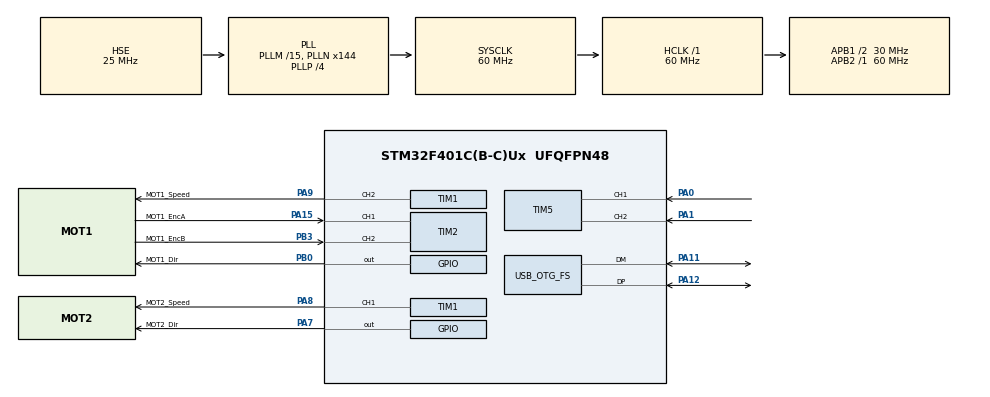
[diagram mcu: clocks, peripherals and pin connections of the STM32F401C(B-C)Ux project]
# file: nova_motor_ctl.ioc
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Mcu.Family=STM32F4
Mcu.Name=STM32F401C(B-C)Ux
Mcu.Package=UFQFPN48
NVIC.OTG_FS_IRQn=true\:0\:0\:false\:false\:true\:false\:true\:true
NVIC.PriorityGroup=NVIC_PRIORITYGROUP_4
NVIC.TIM1_UP_TIM10_IRQn=true\:0\:0\:false\:false\:true\:true\:true\:true
PA0-WKUP.Signal=S_TIM5_CH1
PA1.Signal=S_TIM5_CH2
PA11.Mode=Device_Only
PA11.Signal=USB_OTG_FS_DM
PA12.Mode=Device_Only
PA12.Signal=USB_OTG_FS_DP
PA15.GPIO_Label=MOT1_EncA
PA15.Signal=S_TIM2_CH1_ETR
PA7.GPIO_Label=MOT2_Dir
PA7.GPIO_Speed=GPIO_SPEED_FREQ_MEDIUM
PA7.Signal=GPIO_Output
PA8.GPIO_Label=MOT2_Speed
PA8.Signal=S_TIM1_CH1
PA9.GPIO_Label=MOT1_Speed
PA9.Signal=S_TIM1_CH2
PB0.GPIO_Label=MOT1_Dir
PB0.GPIO_Speed=GPIO_SPEED_FREQ_MEDIUM
PB0.Signal=GPIO_Output
PB3.GPIO_Label=MOT1_EncB
PB3.Signal=S_TIM2_CH2
PH0\ -\ OSC_IN.Mode=HSE-External-Oscillator
PH0\ -\ OSC_IN.Signal=RCC_OSC_IN
PH1\ -\ OSC_OUT.Mode=HSE-External-Oscillator
PH1\ -\ OSC_OUT.Signal=RCC_OSC_OUT
ProjectManager.HeapSize=0x200
ProjectManager.StackSize=0x400
ProjectManager.TargetToolchain=STM32CubeIDE
RCC.48MHZClocksFreq_Value=48000000
RCC.AHBFreq_Value=60000000
RCC.APB1CLKDivider=RCC_HCLK_DIV2
RCC.APB1Freq_Value=30000000
RCC.APB1TimFreq_Value=60000000
RCC.APB2Freq_Value=60000000
RCC.APB2TimFreq_Value=60000000
RCC.CortexFreq_Value=60000000
RCC.HCLKFreq_Value=60000000
RCC.HSE_VALUE=25000000
RCC.HSI_VALUE=16000000
RCC.LSE_VALUE=32768
RCC.PLLM=15
RCC.PLLN=144
RCC.PLLP=RCC_PLLP_DIV4
RCC.PLLQ=5
RCC.SYSCLKFreq_VALUE=60000000
RCC.SYSCLKSource=RCC_SYSCLKSOURCE_PLLCLK
RCC.VCOOutputFreq_Value=240000000
SH.S_TIM1_CH1.0=TIM1_CH1,PWM Generation1 CH1
SH.S_TIM1_CH2.0=TIM1_CH2,PWM Generation2 CH2
SH.S_TIM2_CH1_ETR.0=TIM2_CH1,Encoder_Interface
SH.S_TIM2_CH2.0=TIM2_CH2,Encoder_Interface
SH.S_TIM5_CH1.0=TIM5_CH1,Encoder_Interface
SH.S_TIM5_CH2.0=TIM5_CH2,Encoder_Interface
TIM1.Channel-PWM\ Generation1\ CH1=TIM_CHANNEL_1
TIM1.Channel-PWM\ Generation2\ CH2=TIM_CHANNEL_2
TIM10.Channel=TIM_CHANNEL_1
USB_DEVICE.CLASS_NAME_FS=CDC
USB_DEVICE.VirtualMode=Cdc
USB_DEVICE.VirtualModeFS=Cdc_FS
USB_OTG_FS.VirtualMode=Device_Only
VP_TIM10_VS_ClockSourceINT.Mode=Enable_Timer
VP_TIM10_VS_no_output1.Mode=Output Compare1 No Output
VP_USB_DEVICE_VS_USB_DEVICE_CDC_FS.Mode=CDC_FS
board=custom

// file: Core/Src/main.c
/* USER CODE BEGIN Header */
/**
  ******************************************************************************
  * @file           : main.c
  * @brief          : Main program body
  ******************************************************************************
  * @attention
  *
  * Copyright (c) 2024 STMicroelectronics.
  * All rights reserved.
  *
  * This software is licensed under terms that can be found in the LICENSE file
  * in the root directory of this software component.
  * If no LICENSE file comes with this software, it is provided AS-IS.
  *
  ******************************************************************************
  */
/* USER CODE END Header */
#include "main.h"
#include "usb_device.h"

/* USER CODE BEGIN Includes */

#include "usbd_cdc_if.h"

#include "Com/cmd.h"
#include "Com/munching.h"
#include "Com/packet.h"

/* USER CODE END Includes */

/* USER CODE BEGIN PM */

#ifndef MAX
#define MAX(a, b) ((a) > (b) ? (a) : (b))
#endif

/* USER CODE END PM */

TIM_HandleTypeDef htim1;
TIM_HandleTypeDef htim2;
TIM_HandleTypeDef htim5;
TIM_HandleTypeDef htim10;

/* USER CODE BEGIN PV */

extern USBD_HandleTypeDef hUsbDeviceFS;

uint8_t ESTOP = 0;
uint8_t TX_CPLT_FLAG = 1;
uint8_t UNKNOWN_CMD = 0;

/**
 * MICROCONTROLLER BOARD Mappings
 * ------------------------------
 * PWM2 -> MOTOR_1 -> Left Motor
 * PWM1 -> MOTOR_2 -> Right Motor
 */

// MOTOR_1 Direction -> A2
// MOTOR_2 Direction -> B5

#define MOT1_ENC htim2             // A5, B3
#define MOT1_PWM TIM_CHANNEL_2     // A6
#define MOT2_ENC htim5             // A0, A1
#define MOT2_PWM TIM_CHANNEL_1     // B6
#define LOOP_TIM htim10
#define PWM_TIM  htim1

size_t CDC_RX_PTR = 0; // CDC receive ring buffer
uint8_t CDC_RX_BUF[CDC_RX_SIZE] = { 0 };
uint8_t CDC_TX_BUF[CDC_TX_SIZE] = { 0 };

// rpm counters

uint32_t COUNTS_PER_REV = 23283; // 9031
float RPS_MAX = 1;

// filter constants

uint8_t use_bw = 1;
uint8_t use_ra = 1;

float BW_A[BW_N] = {
	2.83533457,
	-2.6839485,
	0.84809864
};
float BW_B[BW_N + 1] = {
	6.44099940e-05,
	1.93229982e-04,
	1.93229982e-04,
	6.44099940e-05
};

float RA_COEFF[BW_N] = {
	0.005,
	0.005,
	0.99,
};

// PI constants

float pi_kp = 2.95;
float pi_ki = 0.08;

// motor defines

PIController MOTOR_1 = {
	.unicorn = 0,
	.eps_set_point = 0,
	.last_encoder = 0,
	.enc_tim = &MOT1_ENC,
	.pwm_channel = MOT1_PWM,
	.dir_pin = MOT1_Dir_Pin,
	.dir_port = MOT1_Dir_GPIO_Port,
	.filter = {{ 0 }},
};
PIController MOTOR_2 = {
	.unicorn = 0,
	.eps_set_point = 0,
	.last_encoder = 0,
	.enc_tim = &MOT2_ENC,
	.pwm_channel = MOT2_PWM,
	.dir_pin = MOT2_Dir_Pin,
	.dir_port = MOT2_Dir_GPIO_Port,
	.filter = {{ 0 }},
};

/* USER CODE END PV */

void SystemClock_Config(void);
static void MX_GPIO_Init(void);
static void MX_TIM2_Init(void);
static void MX_TIM10_Init(void);
static void MX_TIM5_Init(void);
static void MX_TIM1_Init(void);

/* USER CODE BEGIN 0 */

int32_t encoder_change(uint32_t encoder, PIController* motor) {
    if (__HAL_TIM_IS_TIM_COUNTING_DOWN(motor->enc_tim)) {
    	if (encoder <= motor->last_encoder)
    		return (motor->last_encoder - encoder);
    	else
    		return (motor->last_encoder + __HAL_TIM_GET_AUTORELOAD(motor->enc_tim) - encoder);
    } else {
    	if (encoder >= motor->last_encoder)
    		return (motor->last_encoder - encoder);
    	else
    		return (encoder + __HAL_TIM_GET_AUTORELOAD(motor->enc_tim) - motor->last_encoder);
    }
}

// rpm filter

/// Hard-coded 3rd-order Butterworth filter, defined for our timer sampling frequency
/// and estimated noise frequencies.
void bw_filter_rpm(FilterParams* filter) {
	if (use_bw) {
		float y_n = (BW_A[0] * filter->eps_y[2]) +
				(BW_A[1] * filter->eps_y[1]) +
				(BW_A[2] * filter->eps_y[0]) +
				(BW_B[0] * filter->eps_x[3]) +
				(BW_B[1] * filter->eps_x[2]) +
				(BW_B[2] * filter->eps_x[1]) +
				(BW_B[3] * filter->eps_x[0]);

		filter->eps_y[0] = filter->eps_y[1]; filter->eps_x[0] = filter->eps_x[1];
		filter->eps_y[1] = filter->eps_y[2]; filter->eps_x[1] = filter->eps_x[2];
		filter->eps_y[2] = y_n     	       ; filter->eps_x[2] = filter->eps_x[3];
	} else {
		filter->eps_y[0] = filter->eps_x[3];
		filter->eps_y[1] = filter->eps_x[3];
		filter->eps_y[2] = filter->eps_x[3];
	}
}

/// Running-average filter over the butterworth filter output.
void ra_filter_rpm(FilterParams* filter) {
	if (use_ra) {
		filter->eps_y[2] = (filter->eps_y[0] * RA_COEFF[0]) +
				(filter->eps_y[1] * RA_COEFF[1]) +
				(filter->eps_y[2] * RA_COEFF[2]);
	}
}

// PI controller

/// clamp duty cycle to bounds
float clamp(float val, float min, float max) {
	if      (val > max) return max;
	else if (val < min) return min;
	else                return val;
}

volatile uint32_t* pwm_channel_reg(TIM_TypeDef* timer, uint32_t ch) {
	switch(ch) {
	case TIM_CHANNEL_1: return &(timer->CCR1);
	case TIM_CHANNEL_2: return &(timer->CCR2);
	case TIM_CHANNEL_3: return &(timer->CCR3);
	case TIM_CHANNEL_4: return &(timer->CCR4);
	}

	return NULL;
}

void control_motor_pi(PIController* motor) {
	float error_t = motor->eps_set_point - motor->filter.eps_y[2];
	motor->unicorn = clamp(motor->unicorn + error_t, -1024000., 1024000.);

	float drive = (pi_kp * error_t) + (pi_ki * motor->unicorn);
	float duty_cycle = clamp(drive / COUNTS_PER_REV, -1., 1.);

	if (duty_cycle < 0.) {
		duty_cycle = -duty_cycle;
		HAL_GPIO_WritePin(motor->dir_port, motor->dir_pin, 1);
	} else {
		HAL_GPIO_WritePin(motor->dir_port, motor->dir_pin, 0);
	}

	*pwm_channel_reg(PWM_TIM.Instance, motor->pwm_channel) = duty_cycle *
			__HAL_TIM_GET_AUTORELOAD(&PWM_TIM);
}

void stop_motor_pi(PIController* motor) {
	motor->eps_set_point = 0;
	*pwm_channel_reg(PWM_TIM.Instance, motor->pwm_channel) = 0;
}

// timer loop

float get_tim10_period() {
	return (float)(__HAL_TIM_GET_AUTORELOAD(&LOOP_TIM)) / HAL_RCC_GetPCLK1Freq();
}

void process_callback(PIController* motor, float dt) {
	uint32_t encoder = __HAL_TIM_GET_COUNTER(motor->enc_tim);
	int32_t delta_encoder = encoder_change(encoder, motor);

	motor->filter.eps_x[BW_N] = (delta_encoder / dt);

	bw_filter_rpm(&motor->filter);
	ra_filter_rpm(&motor->filter);

	motor->last_encoder = encoder;
}

void HAL_TIM_PeriodElapsedCallback(TIM_HandleTypeDef* htim) {
	if (htim->Instance == LOOP_TIM.Instance) {
		float period = get_tim10_period();

		process_callback(&MOTOR_1, period);
		process_callback(&MOTOR_2, period);
	}
}

// Command Processing

uint8_t CMD_BUF[16] = { 0 };

void echo(size_t ptr) {
	uint8_t echo_buf[32] = { 0 };
	EchoCommand echo = deserialize_echo(CMD_BUF + ptr, echo_buf);

	uint8_t command_buf[32] = { 0 };
	command_buf[0] = 1;
	uint8_t len = serialize_echo(&echo, command_buf + 1);

	while (!TX_CPLT_FLAG);
	memset(CDC_TX_BUF, 0, CDC_TX_SIZE);
	uint16_t packet_len = serialize_packet(command_buf, len + ptr, CDC_TX_BUF);
	CDC_Transmit_FS(CDC_TX_BUF, packet_len);
}

void process_command() {
	float rps_set;
	float float_recv;

	UNKNOWN_CMD = 0;

	size_t ptr = 0;

	uint8_t command = deserialize_byte(CMD_BUF); ptr += 1;

	switch (command) {
	case 1:
		echo(ptr);
		break;

	case 2:
		float_recv = deserialize_float(CMD_BUF + ptr);
		pi_kp = float_recv;
		break;

	case 3:
		float_recv = deserialize_float(CMD_BUF + ptr);
		pi_ki = float_recv;
		break;

	case 4: // RpmL
		float_recv = deserialize_float(CMD_BUF + ptr) / 60.;
		rps_set = clamp(float_recv, -RPS_MAX, RPS_MAX);
		MOTOR_1.eps_set_point = rps_set * COUNTS_PER_REV;
		break;

	case 5: // RpmR
		float_recv = deserialize_float(CMD_BUF + ptr) / 60.;
		rps_set = clamp(float_recv, 0 - RPS_MAX, RPS_MAX);
		MOTOR_2.eps_set_point = rps_set * COUNTS_PER_REV;
		break;

	default:
		UNKNOWN_CMD = 1;
	}

	memset(CMD_BUF, 0, 16);
}

void process_packets() {
	for (int i = 0; i < CDC_RX_SIZE - 1; i++) {
		uint16_t len = deserialize_u16(CDC_RX_BUF + i);

		uint16_t frame_ptr = i + len + 2;

		if (frame_ptr < CDC_RX_SIZE - 1) {
			uint16_t framing = deserialize_u16(CDC_RX_BUF + frame_ptr);

			if (framing == 0x0A0D) { // \r\n
				deserialize_packet(CDC_RX_BUF + i, CMD_BUF);
				process_command();
				i += len + 4;
			}
		}
	}

	CDC_RX_PTR = 0;
	memset(CDC_RX_BUF, 0, CDC_RX_SIZE);
}

// Other

void usb_configure_wait() {
	while (hUsbDeviceFS.dev_state != USBD_STATE_CONFIGURED);
}

uint8_t check_usb_status() {
	return (hUsbDeviceFS.dev_state == USBD_STATE_SUSPENDED);
}

void stream_eps_values() {
	memset(CDC_TX_BUF, 0, CDC_TX_SIZE);
	int w = snprintf((char*)CDC_TX_BUF, 16, "%d,%d\n",
			(int)MOTOR_1.filter.eps_y[2],
			(int)MOTOR_2.filter.eps_y[2]);
	CDC_Transmit_FS(CDC_TX_BUF, w);
}

/* USER CODE END 0 */

int main(void)
{

  /* MCU Configuration--------------------------------------------------------*/

  /* Reset of all peripherals, Initializes the Flash interface and the Systick. */
  HAL_Init();

  /* Configure the system clock */
  SystemClock_Config();

  /* Initialize all configured peripherals */
  MX_GPIO_Init();
  MX_TIM2_Init();
  MX_TIM10_Init();
  MX_USB_DEVICE_Init();
  MX_TIM5_Init();
  MX_TIM1_Init();
  /* USER CODE BEGIN 2 */

  HAL_TIM_Base_Start_IT(&LOOP_TIM);
  HAL_TIM_Encoder_Start(&MOT1_ENC, TIM_CHANNEL_ALL);
  HAL_TIM_Encoder_Start(&MOT2_ENC, TIM_CHANNEL_ALL);
  HAL_TIM_PWM_Start(&PWM_TIM, TIM_CHANNEL_2);
  HAL_TIM_PWM_Start(&PWM_TIM, TIM_CHANNEL_1);

  usb_configure_wait();

  /* USER CODE END 2 */

  /* Infinite loop */
  while (1)
  {

    /* USER CODE BEGIN 3 */

	ESTOP = check_usb_status() || ESTOP;

	process_packets();
	stream_eps_values();

	if (ESTOP) {
		stop_motor_pi(&MOTOR_1);
		stop_motor_pi(&MOTOR_2);
	} else {
		control_motor_pi(&MOTOR_1);
		control_motor_pi(&MOTOR_2);
	}

	HAL_Delay(10);
  }
  /* USER CODE END 3 */
}

void SystemClock_Config(void)
{
  RCC_OscInitTypeDef RCC_OscInitStruct = {0};
  RCC_ClkInitTypeDef RCC_ClkInitStruct = {0};

  /** Configure the main internal regulator output voltage
  */
  __HAL_RCC_PWR_CLK_ENABLE();
  __HAL_PWR_VOLTAGESCALING_CONFIG(PWR_REGULATOR_VOLTAGE_SCALE2);

  /** Initializes the RCC Oscillators according to the specified parameters
  * in the RCC_OscInitTypeDef structure.
  */
  RCC_OscInitStruct.OscillatorType = RCC_OSCILLATORTYPE_HSE;
  RCC_OscInitStruct.HSEState = RCC_HSE_ON;
  RCC_OscInitStruct.PLL.PLLState = RCC_PLL_ON;
  RCC_OscInitStruct.PLL.PLLSource = RCC_PLLSOURCE_HSE;
  RCC_OscInitStruct.PLL.PLLM = 15;
  RCC_OscInitStruct.PLL.PLLN = 144;
  RCC_OscInitStruct.PLL.PLLP = RCC_PLLP_DIV4;
  RCC_OscInitStruct.PLL.PLLQ = 5;
  if (HAL_RCC_OscConfig(&RCC_OscInitStruct) != HAL_OK)
  {
    Error_Handler();
  }

  /** Initializes the CPU, AHB and APB buses clocks
  */
  RCC_ClkInitStruct.ClockType = RCC_CLOCKTYPE_HCLK|RCC_CLOCKTYPE_SYSCLK
                              |RCC_CLOCKTYPE_PCLK1|RCC_CLOCKTYPE_PCLK2;
  RCC_ClkInitStruct.SYSCLKSource = RCC_SYSCLKSOURCE_PLLCLK;
  RCC_ClkInitStruct.AHBCLKDivider = RCC_SYSCLK_DIV1;
  RCC_ClkInitStruct.APB1CLKDivider = RCC_HCLK_DIV2;
  RCC_ClkInitStruct.APB2CLKDivider = RCC_HCLK_DIV1;

  if (HAL_RCC_ClockConfig(&RCC_ClkInitStruct, FLASH_LATENCY_1) != HAL_OK)
  {
    Error_Handler();
  }
}

static void MX_TIM1_Init(void)
{

  TIM_MasterConfigTypeDef sMasterConfig = {0};
  TIM_OC_InitTypeDef sConfigOC = {0};
  TIM_BreakDeadTimeConfigTypeDef sBreakDeadTimeConfig = {0};

  htim1.Instance = TIM1;
  htim1.Init.Prescaler = 0;
  htim1.Init.CounterMode = TIM_COUNTERMODE_UP;
  htim1.Init.Period = 65535;
  htim1.Init.ClockDivision = TIM_CLOCKDIVISION_DIV1;
  htim1.Init.RepetitionCounter = 0;
  htim1.Init.AutoReloadPreload = TIM_AUTORELOAD_PRELOAD_DISABLE;
  if (HAL_TIM_PWM_Init(&htim1) != HAL_OK)
  {
    Error_Handler();
  }
  sMasterConfig.MasterOutputTrigger = TIM_TRGO_RESET;
  sMasterConfig.MasterSlaveMode = TIM_MASTERSLAVEMODE_DISABLE;
  if (HAL_TIMEx_MasterConfigSynchronization(&htim1, &sMasterConfig) != HAL_OK)
  {
    Error_Handler();
  }
  sConfigOC.OCMode = TIM_OCMODE_PWM1;
  sConfigOC.Pulse = 0;
  sConfigOC.OCPolarity = TIM_OCPOLARITY_HIGH;
  sConfigOC.OCNPolarity = TIM_OCNPOLARITY_HIGH;
  sConfigOC.OCFastMode = TIM_OCFAST_DISABLE;
  sConfigOC.OCIdleState = TIM_OCIDLESTATE_RESET;
  sConfigOC.OCNIdleState = TIM_OCNIDLESTATE_RESET;
  if (HAL_TIM_PWM_ConfigChannel(&htim1, &sConfigOC, TIM_CHANNEL_1) != HAL_OK)
  {
    Error_Handler();
  }
  if (HAL_TIM_PWM_ConfigChannel(&htim1, &sConfigOC, TIM_CHANNEL_2) != HAL_OK)
  {
    Error_Handler();
  }
  sBreakDeadTimeConfig.OffStateRunMode = TIM_OSSR_DISABLE;
  sBreakDeadTimeConfig.OffStateIDLEMode = TIM_OSSI_DISABLE;
  sBreakDeadTimeConfig.LockLevel = TIM_LOCKLEVEL_OFF;
  sBreakDeadTimeConfig.DeadTime = 0;
  sBreakDeadTimeConfig.BreakState = TIM_BREAK_DISABLE;
  sBreakDeadTimeConfig.BreakPolarity = TIM_BREAKPOLARITY_HIGH;
  sBreakDeadTimeConfig.AutomaticOutput = TIM_AUTOMATICOUTPUT_DISABLE;
  if (HAL_TIMEx_ConfigBreakDeadTime(&htim1, &sBreakDeadTimeConfig) != HAL_OK)
  {
    Error_Handler();
  }
  HAL_TIM_MspPostInit(&htim1);

}

static void MX_TIM2_Init(void)
{

  TIM_Encoder_InitTypeDef sConfig = {0};
  TIM_MasterConfigTypeDef sMasterConfig = {0};

  htim2.Instance = TIM2;
  htim2.Init.Prescaler = 0;
  htim2.Init.CounterMode = TIM_COUNTERMODE_UP;
  htim2.Init.Period = 4294967295;
  htim2.Init.ClockDivision = TIM_CLOCKDIVISION_DIV1;
  htim2.Init.AutoReloadPreload = TIM_AUTORELOAD_PRELOAD_DISABLE;
  sConfig.EncoderMode = TIM_ENCODERMODE_TI1;
  sConfig.IC1Polarity = TIM_ICPOLARITY_RISING;
  sConfig.IC1Selection = TIM_ICSELECTION_DIRECTTI;
  sConfig.IC1Prescaler = TIM_ICPSC_DIV1;
  sConfig.IC1Filter = 0;
  sConfig.IC2Polarity = TIM_ICPOLARITY_RISING;
  sConfig.IC2Selection = TIM_ICSELECTION_DIRECTTI;
  sConfig.IC2Prescaler = TIM_ICPSC_DIV1;
  sConfig.IC2Filter = 0;
  if (HAL_TIM_Encoder_Init(&htim2, &sConfig) != HAL_OK)
  {
    Error_Handler();
  }
  sMasterConfig.MasterOutputTrigger = TIM_TRGO_RESET;
  sMasterConfig.MasterSlaveMode = TIM_MASTERSLAVEMODE_DISABLE;
  if (HAL_TIMEx_MasterConfigSynchronization(&htim2, &sMasterConfig) != HAL_OK)
  {
    Error_Handler();
  }

}

static void MX_TIM5_Init(void)
{

  TIM_Encoder_InitTypeDef sConfig = {0};
  TIM_MasterConfigTypeDef sMasterConfig = {0};

  htim5.Instance = TIM5;
  htim5.Init.Prescaler = 0;
  htim5.Init.CounterMode = TIM_COUNTERMODE_UP;
  htim5.Init.Period = 4294967295;
  htim5.Init.ClockDivision = TIM_CLOCKDIVISION_DIV1;
  htim5.Init.AutoReloadPreload = TIM_AUTORELOAD_PRELOAD_DISABLE;
  sConfig.EncoderMode = TIM_ENCODERMODE_TI1;
  sConfig.IC1Polarity = TIM_ICPOLARITY_RISING;
  sConfig.IC1Selection = TIM_ICSELECTION_DIRECTTI;
  sConfig.IC1Prescaler = TIM_ICPSC_DIV1;
  sConfig.IC1Filter = 0;
  sConfig.IC2Polarity = TIM_ICPOLARITY_RISING;
  sConfig.IC2Selection = TIM_ICSELECTION_DIRECTTI;
  sConfig.IC2Prescaler = TIM_ICPSC_DIV1;
  sConfig.IC2Filter = 0;
  if (HAL_TIM_Encoder_Init(&htim5, &sConfig) != HAL_OK)
  {
    Error_Handler();
  }
  sMasterConfig.MasterOutputTrigger = TIM_TRGO_RESET;
  sMasterConfig.MasterSlaveMode = TIM_MASTERSLAVEMODE_DISABLE;
  if (HAL_TIMEx_MasterConfigSynchronization(&htim5, &sMasterConfig) != HAL_OK)
  {
    Error_Handler();
  }

}

static void MX_TIM10_Init(void)
{

  TIM_OC_InitTypeDef sConfigOC = {0};

  htim10.Instance = TIM10;
  htim10.Init.Prescaler = 0;
  htim10.Init.CounterMode = TIM_COUNTERMODE_UP;
  htim10.Init.Period = 65535;
  htim10.Init.ClockDivision = TIM_CLOCKDIVISION_DIV1;
  htim10.Init.AutoReloadPreload = TIM_AUTORELOAD_PRELOAD_DISABLE;
  if (HAL_TIM_Base_Init(&htim10) != HAL_OK)
  {
    Error_Handler();
  }
  if (HAL_TIM_OC_Init(&htim10) != HAL_OK)
  {
    Error_Handler();
  }
  sConfigOC.OCMode = TIM_OCMODE_TIMING;
  sConfigOC.Pulse = 0;
  sConfigOC.OCPolarity = TIM_OCPOLARITY_HIGH;
  sConfigOC.OCFastMode = TIM_OCFAST_DISABLE;
  if (HAL_TIM_OC_ConfigChannel(&htim10, &sConfigOC, TIM_CHANNEL_1) != HAL_OK)
  {
    Error_Handler();
  }

}

static void MX_GPIO_Init(void)
{
  GPIO_InitTypeDef GPIO_InitStruct = {0};

  /* GPIO Ports Clock Enable */
  __HAL_RCC_GPIOH_CLK_ENABLE();
  __HAL_RCC_GPIOA_CLK_ENABLE();
  __HAL_RCC_GPIOB_CLK_ENABLE();

  /*Configure GPIO pin Output Level */
  HAL_GPIO_WritePin(MOT2_Dir_GPIO_Port, MOT2_Dir_Pin, GPIO_PIN_RESET);

  /*Configure GPIO pin Output Level */
  HAL_GPIO_WritePin(MOT1_Dir_GPIO_Port, MOT1_Dir_Pin, GPIO_PIN_RESET);

  /*Configure GPIO pin : MOT2_Dir_Pin */
  GPIO_InitStruct.Pin = MOT2_Dir_Pin;
  GPIO_InitStruct.Mode = GPIO_MODE_OUTPUT_PP;
  GPIO_InitStruct.Pull = GPIO_NOPULL;
  GPIO_InitStruct.Speed = GPIO_SPEED_FREQ_MEDIUM;
  HAL_GPIO_Init(MOT2_Dir_GPIO_Port, &GPIO_InitStruct);

  /*Configure GPIO pin : MOT1_Dir_Pin */
  GPIO_InitStruct.Pin = MOT1_Dir_Pin;
  GPIO_InitStruct.Mode = GPIO_MODE_OUTPUT_PP;
  GPIO_InitStruct.Pull = GPIO_NOPULL;
  GPIO_InitStruct.Speed = GPIO_SPEED_FREQ_MEDIUM;
  HAL_GPIO_Init(MOT1_Dir_GPIO_Port, &GPIO_InitStruct);

}

void Error_Handler(void)
{
  __disable_irq();
  while (1)
  {
  }
}
